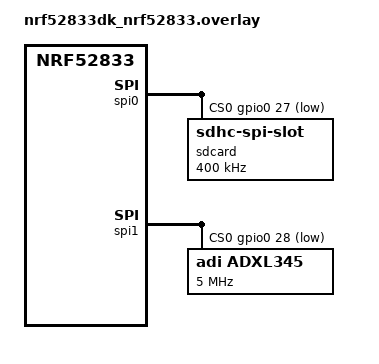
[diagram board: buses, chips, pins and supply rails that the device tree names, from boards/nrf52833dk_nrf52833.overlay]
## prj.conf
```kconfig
CONFIG_SPI=y
CONFIG_DISK_ACCESS=y
# CONFIG_DISK_ACCESS_sSDMMC=y



CONFIG_FILE_SYSTEM=y
CONFIG_DISK_DRIVERS=y

CONFIG_FS_FATFS_LFN=y
# CONFIG_FS_FATFS_MOUNT=y
CONFIG_FS_FATFS_MOUNT_MKFS=y
CONFIG_FAT_FILESYSTEM_ELM=y


CONFIG_LOG=y
CONFIG_LOG_DEFAULT_LEVEL=3

CONFIG_MAIN_STACK_SIZE=4096
```

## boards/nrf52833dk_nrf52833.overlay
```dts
/* STEP 2.1 - Add the SPI peripheral to spi1 */
&i2c0 {status = "disabled";};
// &spi0 {status = "disabled";};
&i2c1 {status = "disabled";};

	// SPI pin configuration
// SPI0 is used for SD card, SPI1 is used for ADXL345 accelerometer
// SPI0: SCK on P0.23, MOSI on P0.2, MISO on P0.26, CS on P0.27
// SPI1: SCK on P0.31, MOSI on P0.30, MISO on P0.29, CS on P0.28

	&spi0 {
		status = "okay";
		cs-gpios = <&gpio0 27 GPIO_ACTIVE_LOW>;
	
		sdcard: spi-dev@0 {
			compatible = "zephyr,sdhc-spi-slot";
			reg = <0>;
			spi-max-frequency = <400000>; // try between 400kHz - 25MHz
			status = "okay";
	
			mmc {
				compatible = "zephyr,sdmmc-disk";
				disk-name = "SD";
				status = "okay";
			};
		};
	};

&pinctrl {
	spi0_default: spi0_default {
		group1 {
			psels = <NRF_PSEL(SPIM_SCK, 0, 23)>,
			        <NRF_PSEL(SPIM_MOSI, 0, 2)>,
			        <NRF_PSEL(SPIM_MISO, 0, 26)>;
		};
	};

	spi0_sleep: spi0_sleep {
		group1 {
			psels = <NRF_PSEL(SPIM_SCK, 0, 23)>,
			        <NRF_PSEL(SPIM_MOSI, 0, 2)>,
			        <NRF_PSEL(SPIM_MISO, 0, 26)>;
			low-power-enable;
		};
	};
};


&spi1 {
	status = "okay";
	cs-gpios = <&gpio0 28 GPIO_ACTIVE_LOW>; // CS on P0.28

	adxl345: adxl345@0 {
		compatible = "adi,adxl345";
		reg = <0>;  // CS index
		spi-max-frequency = <5000000>; // 5 MHz
		label = "ADXL345";
		spi-cpha;
		spi-cpol;
		interrupt-parent = <&gpio0>;
		// interrupts = <15 GPIO_ACTIVE_HIGH>; // Optional: if using INT1
	};
};

&pinctrl {
	spi1_default: spi1_default {
		group1 {
				psels = <NRF_PSEL(SPIM_SCK, 0, 31)>,
						<NRF_PSEL(SPIM_MOSI, 0, 30)>,
						<NRF_PSEL(SPIM_MISO, 0, 29)>;
		};
	};

	spi1_sleep: spi1_sleep {
		group1 {
				psels = <NRF_PSEL(SPIM_SCK, 0, 31)>,
						<NRF_PSEL(SPIM_MOSI, 0, 30)>,
						<NRF_PSEL(SPIM_MISO, 0, 29)>;
				low-power-enable;
		};
	};
};
```

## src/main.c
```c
#include <zephyr/kernel.h>
#include <zephyr/logging/log.h>

#include <zephyr/device.h>
#include <zephyr/devicetree.h>
#include <zephyr/drivers/gpio.h>
#include <zephyr/drivers/spi.h>
#include <zephyr/fs/fs.h>
#include <zephyr/storage/disk_access.h>
#include <ff.h>

LOG_MODULE_REGISTER(Lesson5_Exercise1, LOG_LEVEL_INF);

// Buffer sizes and definitions

#define SAMPLE_SIZE 6    // 3x int16_t = 6 bytes
#define BUFFER_SIZE 600

static uint8_t buffer_a[BUFFER_SIZE];
static uint8_t buffer_b[BUFFER_SIZE];

static uint8_t *active_buf = buffer_a;
static uint8_t *flush_buf = buffer_b;

static volatile size_t active_index = 0;
static struct k_sem flush_sem;  // Used to signal SD writer
static struct k_mutex buffer_swap_mutex;
static struct k_sem sd_ready_sem;

/*
 * SD Card SPI Pin Mapping
 * ------------------------
 * | SD Card Pin | nRF52 Pin |
 * |-------------|------------|
 * | CS          | P0.27      |
 * | SCK         | P0.23      |
 * | MOSI        | P0.02      |
 * | MISO        | P0.26      |
 * | VCC         | 3.3V       |
 * | GND         | GND        |
 *
 * Note:
 * - Ensure VCC is a stable 3.3V (not 3.0V or lower).
 * - Common ground between SD card and nRF52833 is essential.
 * - Pull-up resistors on SD lines are usually not needed for SPI mode.
 */

 /*
 * ADXL345 to nRF52833 SPI Pin Mapping
 *
 * | ADXL345 Pin | nRF52833 Pin     | Notes                  |
 * |-------------|------------------|------------------------|
 * | VCC         | 3.3V             | Use VDD from nRF52833  |
 * | GND         | GND              | Common ground          |
 * | CS          | P0.28            | Controlled by software |
 * | SCL (SCLK)  | P0.31            | SPI clock              |
 * | SDA (MOSI)  | P0.30            | Data from nRF to ADXL  |
 * | SDO (MISO)  | P0.29            | Data from ADXL to nRF  |
 * | INT1        | P0.15 (optional) | If using interrupts    |
 * | INT2        | -                | Not used               |
 */


// Button interrupt configuration
#define BUTTON_NODE DT_ALIAS(sw0)
static const struct gpio_dt_spec button = GPIO_DT_SPEC_GET(BUTTON_NODE, gpios);
static struct gpio_callback button_cb_data;
volatile bool button_pressed = false;

void button_pressed_isr(const struct device *dev, struct gpio_callback *cb, uint32_t pins)
{
    button_pressed = true;
    LOG_INF("Button pressed! Pin: %d", button.pin);
}



static FATFS fat_fs;
static struct fs_file_t file;


static struct fs_mount_t fatfs_mnt = {
    .type = FS_FATFS,
    .mnt_point = "/SD:",
    .fs_data = &fat_fs,
    .storage_dev = (void *)DEVICE_DT_GET(DT_NODELABEL(sdcard)),
};

// ADXL345 SPI configuration

#define SPIOP	SPI_WORD_SET(8) | SPI_TRANSFER_MSB
#define ADXL345_REG_DATAX0 0x32
#define ADXL345_READ_MULTI (1 << 7 | 1 << 6)  // bit7=Read, bit6=Multi-byte


struct spi_dt_spec spispec = SPI_DT_SPEC_GET(DT_NODELABEL(adxl345), SPIOP, 0);

int adxl345_spi_read_reg(uint8_t reg_addr, uint8_t *val)
{
    uint8_t tx_buf[2] = { reg_addr | 0x80, 0x00 };  // Set read bit
    uint8_t rx_buf[2] = { 0 };

    struct spi_buf tx = {
        .buf = tx_buf,
        .len = 2
    };
    struct spi_buf rx = {
        .buf = rx_buf,
        .len = 2
    };

    struct spi_buf_set tx_set = {
        .buffers = &tx,
        .count = 1
    };
    struct spi_buf_set rx_set = {
        .buffers = &rx,
        .count = 1
    };

    int ret = spi_transceive_dt(&spispec, &tx_set, &rx_set);
    if (ret == 0) {
        *val = rx_buf[1];  // second byte is data
    }
    return ret;
}

int adxl345_read_xyz(int16_t *x, int16_t *y, int16_t *z)
{
    uint8_t tx_buf[7] = { ADXL345_REG_DATAX0 | ADXL345_READ_MULTI };  // 1-byte cmd + 6 dummy
    uint8_t rx_buf[7] = { 0 };

    struct spi_buf tx = {
        .buf = tx_buf,
        .len = 7
    };
    struct spi_buf rx = {
        .buf = rx_buf,
        .len = 7
    };

    struct spi_buf_set tx_set = { .buffers = &tx, .count = 1 };
    struct spi_buf_set rx_set = { .buffers = &rx, .count = 1 };

    int ret = spi_transceive_dt(&spispec, &tx_set, &rx_set);
    if (ret != 0) {
        return ret;
    }

    // Combine little-endian bytes
    *x = (int16_t)((rx_buf[2] << 8) | rx_buf[1]);
    *y = (int16_t)((rx_buf[4] << 8) | rx_buf[3]);
    *z = (int16_t)((rx_buf[6] << 8) | rx_buf[5]);

    return 0;
}

static int adxl345_write_reg(uint8_t reg, uint8_t val)
{
    uint8_t tx_buf[] = { reg & 0x3F, val };  // Write command
    struct spi_buf tx = { .buf = tx_buf, .len = 2 };
    struct spi_buf_set tx_set = { .buffers = &tx, .count = 1 };
    return spi_write_dt(&spispec, &tx_set);
}

static int adxl345_read_reg(uint8_t reg, uint8_t *val)
{
    uint8_t tx_buf[2] = { reg | 0x80, 0x00 };  // Read command
    uint8_t rx_buf[2] = { 0 };

    struct spi_buf tx = { .buf = tx_buf, .len = 2 };
    struct spi_buf rx = { .buf = rx_buf, .len = 2 };
    struct spi_buf_set tx_set = { .buffers = &tx, .count = 1 };
    struct spi_buf_set rx_set = { .buffers = &rx, .count = 1 };

    int ret = spi_transceive_dt(&spispec, &tx_set, &rx_set);
    if (ret == 0) *val = rx_buf[1];
    return ret;
}

#define ADXL345_DEVID_REG       0x00
#define ADXL345_POWER_CTL_REG   0x2D
#define ADXL345_DATA_FORMAT_REG 0x31
#define ADXL345_BW_RATE_REG     0x2C

#define ADXL345_DEVID           0xE5
// #define ADXL345_DEVID           0xCB
#define ADXL345_MEASURE         0x08
#define ADXL345_RANGE_2G        0x00
#define ADXL345_RATE_100HZ      0x0A  // Output Data Rate = 100 Hz
#define DELAY_VALUES 100  // Delay in milliseconds

int adxl345_init(void)
{
    if (!spi_is_ready_dt(&spispec)) {
        printk("SPI device not ready!\n");
        return -ENODEV;
    }

    uint8_t devid;
    int ret = adxl345_read_reg(ADXL345_DEVID_REG, &devid);
    if (ret != 0 || devid != ADXL345_DEVID) {
        printk("ADXL345 not detected! Read 0x%02X\n", devid);
        return -EIO;
    }

    printk("ADXL345 detected. DEVID: 0x%02X\n", devid);

    // Set BW_RATE to 100 Hz
    if (adxl345_write_reg(ADXL345_BW_RATE_REG, ADXL345_RATE_100HZ)) {
        printk("Failed to set BW_RATE\n");
        return -EIO;
    }

    // Set data format to ±2g, right-justified, full-res disabled
    if (adxl345_write_reg(ADXL345_DATA_FORMAT_REG, ADXL345_RANGE_2G)) {
        printk("Failed to set data format\n");
        return -EIO;
    }

    // Enable measurement mode
    if (adxl345_write_reg(ADXL345_POWER_CTL_REG, ADXL345_MEASURE)) {
        printk("Failed to enable measurement\n");
        return -EIO;
    }

    printk("ADXL345 initialization complete.\n");
    return 0;
}

void sd_writer_thread(void *p1, void *p2, void *p3)
{
    k_sem_take(&sd_ready_sem, K_FOREVER);  // ✅ Wait until SD is ready

    while (1) {
        k_sem_take(&flush_sem, K_FOREVER);

        

        int rc = fs_write(&file, flush_buf, BUFFER_SIZE);
        if (rc < 0) {
            LOG_ERR("Failed to write to SD: %d", rc);
        }
        LOG_INF("Wrote %d bytes to SD", rc);
        // Sync the file to ensure data is written
        fs_sync(&file);  // Flush to disk after write
        LOG_INF("Flushed file to SD");
    }
}

// ✅ Start background SD writer thread
K_THREAD_DEFINE(sd_tid, 1024, sd_writer_thread, NULL, NULL, NULL, 5, 0, 0);

void main(void)
{
    k_sem_init(&sd_ready_sem, 0, 1);

    if (!device_is_ready(button.port)) {
        LOG_ERR("Button device %s is not ready", button.port->name);
        return;
    }
    
    int ret = gpio_pin_configure_dt(&button, GPIO_INPUT);
    if (ret != 0) {
        LOG_ERR("Failed to configure button pin: %d", ret);
        return;
    }
    
    ret = gpio_pin_interrupt_configure_dt(&button, GPIO_INT_EDGE_TO_ACTIVE);
    if (ret != 0) {
        LOG_ERR("Failed to configure interrupt on button pin: %d", ret);
        return;
    }
    
    gpio_init_callback(&button_cb_data, button_pressed_isr, BIT(button.pin));
    gpio_add_callback(button.port, &button_cb_data);
    
    LOG_INF("Button interrupt configured");

    int err;
	
	err = spi_is_ready_dt(&spispec);
	if (!err) {
		LOG_ERR("Error: SPI device is not ready, err: %d", err);
		return 0;
	}

	LOG_INF("SPI device is ready ");

    if (adxl345_init() != 0) {
        LOG_ERR("Sensor init failed\n");
        // return -1;
    }

	


    int rc = disk_access_init("SD");
    if (rc != 0) {
        LOG_ERR("Disk init error %d\n", rc);
        return;
    }

    memset(&fat_fs, 0, sizeof(fat_fs));

    // delay to allow the SD card to stabilize
    k_msleep(1000);

    const struct device *sd_dev = DEVICE_DT_GET(DT_NODELABEL(sdcard));
    if (!device_is_ready(sd_dev)) {
        LOG_ERR("SD card device not ready!\n");
        return;
    }

    
    rc = fs_mount(&fatfs_mnt);
    if (rc == 0) {
        LOG_INF("SD card mounted at %s\n", fatfs_mnt.mnt_point);
    } else {
        LOG_ERR("Failed to mount SD card: %d\n", rc);
        return;
    }

    
    fs_file_t_init(&file);
    rc = fs_open(&file, "/SD:/test.bin", FS_O_CREATE | FS_O_WRITE | FS_O_APPEND);
    // fs_write(&file, "Hello SD!", 9);
    // fs_close(&file);

    k_sem_give(&sd_ready_sem);  // ✅ Signal SD writer thread to proceed

    // ✅ Init semaphores and mutexes
    k_sem_init(&flush_sem, 0, 1);
    k_mutex_init(&buffer_swap_mutex);


    int16_t x, y, z;

    while (!button_pressed) {
        if (adxl345_read_xyz(&x, &y, &z) == 0) {
            LOG_INF("X: %d  Y: %d  Z: %d", x, y, z);
    
            k_mutex_lock(&buffer_swap_mutex, K_FOREVER);
    
            // Check if enough space
            if (active_index + SAMPLE_SIZE <= BUFFER_SIZE) {
                active_buf[active_index++] = x & 0xFF;
                active_buf[active_index++] = (x >> 8) & 0xFF;
                active_buf[active_index++] = y & 0xFF;
                active_buf[active_index++] = (y >> 8) & 0xFF;
                active_buf[active_index++] = z & 0xFF;
                active_buf[active_index++] = (z >> 8) & 0xFF;
                LOG_INF("Active index: %d", active_index);
            } else {
                LOG_ERR("Buffer overflow! Active index: %d", active_index);
                // Trigger SD write immediately
            }

            
    
            // If full, trigger SD write
            if (active_index >= BUFFER_SIZE) {
                // for (int i = 0; i < BUFFER_SIZE; i += 6) {
                //     int16_t x = (int16_t)(flush_buf[i] | (flush_buf[i+1] << 8));
                //     int16_t y = (int16_t)(flush_buf[i+2] | (flush_buf[i+3] << 8));
                //     int16_t z = (int16_t)(flush_buf[i+4] | (flush_buf[i+5] << 8));
                //     LOG_INF("Sample %03d: X=%d Y=%d Z=%d", i / 6, x, y, z);
                // }

                uint8_t *temp = active_buf;
                active_buf = flush_buf;
                flush_buf = temp;
                active_index = 0;
    
                k_sem_give(&flush_sem);  // notify SD write thread
            }
    
            k_mutex_unlock(&buffer_swap_mutex);
    
        } else {
            LOG_ERR("Failed to read XYZ");
        }
    
        k_msleep(DELAY_VALUES);
    }


    LOG_INF("Button pressed, exiting main loop.");
    fs_unmount(&fatfs_mnt);
    LOG_INF("Unmounted SD card.");
    gpio_remove_callback(button.port, &button_cb_data);
    LOG_INF("Button callback removed.");
    // Optionally, you can also close the file if it was opened
    fs_file_t_init(&file);
    fs_close(&file);
    LOG_INF("File closed.");
    // Optionally, you can also unmount the filesystem
    // fs_unmount(&fatfs_mnt);
    LOG_INF("Filesystem unmounted.");
    // Optionally, you can also reset the ADXL345 sensor
    adxl345_write_reg(ADXL345_POWER_CTL_REG, 0x00); // Power down
    LOG_INF("ADXL345 sensor powered down.");
    // Optionally, you can also reset the SPI device
    spi_release_dt(&spispec);
    LOG_INF("SPI device released.");
    // Optionally, you can also reset the SD card device
    const struct device *sdcard_dev = DEVICE_DT_GET(DT_NODELABEL(sdcard));
    if (device_is_ready(sdcard_dev)) {
        // Reset or reinitialize the SD card device if needed
        LOG_INF("SD card device is ready for reset.");
    } else {
        LOG_ERR("SD card device is not ready for reset.");
    }
    LOG_INF("Main function completed.");
    // Optionally, you can also reset the button device
    const struct device *button_dev = button.port;
    if (device_is_ready(button_dev)) {
        // Reset or reinitialize the button device if needed
        LOG_INF("Button device is ready for reset.");
    } else {
        LOG_ERR("Button device is not ready for reset.");
    }
    LOG_INF("Button device reset completed.");
    // Optionally, you can also reset the GPIO subsystem
    const struct device *gpio_dev = DEVICE_DT_GET(DT_NODELABEL(gpio0));
    if (device_is_ready(gpio_dev)) {
        // Reset or reinitialize the GPIO subsystem if needed
        LOG_INF("GPIO subsystem is ready for reset.");
    } else {
        LOG_ERR("GPIO subsystem is not ready for reset.");
    }
    LOG_INF("GPIO subsystem reset completed.");
    
}
```
